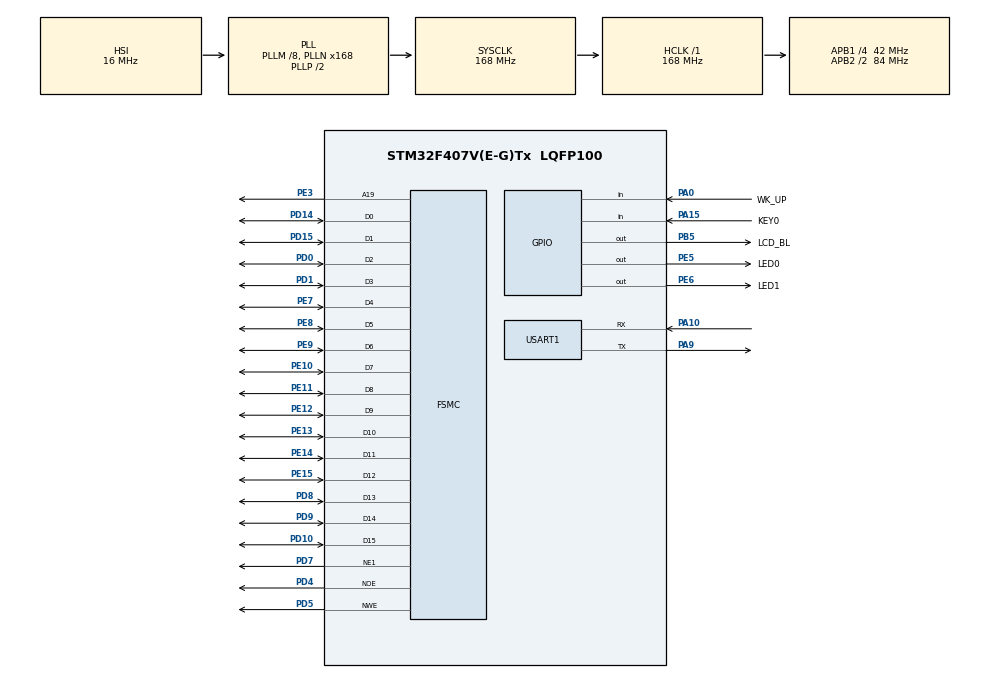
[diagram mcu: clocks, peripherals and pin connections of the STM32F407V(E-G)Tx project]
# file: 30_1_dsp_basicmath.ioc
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FSMC.AddressSetupTime1=15
FSMC.BusTurnAroundDuration1=0
FSMC.DataSetupTime1=60
FSMC.ExtendedAddressSetupTime1=9
FSMC.ExtendedDataSetupTime1=9
FSMC.ExtendedMode1=FSMC_EXTENDED_MODE_ENABLE
Mcu.Family=STM32F4
Mcu.Name=STM32F407V(E-G)Tx
Mcu.Package=LQFP100
NVIC.PriorityGroup=NVIC_PRIORITYGROUP_2
NVIC.TIM6_DAC_IRQn=true\:2\:1\:true\:false\:true\:true\:true\:true
NVIC.USART1_IRQn=true\:2\:2\:true\:false\:true\:true\:true\:true
PA0-WKUP.GPIO_Label=WK_UP
PA0-WKUP.GPIO_PuPd=GPIO_PULLDOWN
PA0-WKUP.Signal=GPIO_Input
PA10.Mode=Asynchronous
PA10.Signal=USART1_RX
PA13.Mode=Serial_Wire
PA13.Signal=SYS_JTMS-SWDIO
PA14.Mode=Serial_Wire
PA14.Signal=SYS_JTCK-SWCLK
PA15.GPIO_Label=KEY0
PA15.GPIO_PuPd=GPIO_PULLDOWN
PA15.Signal=GPIO_Input
PA9.Mode=Asynchronous
PA9.Signal=USART1_TX
PB5.GPIO_Label=LCD_BL
PB5.GPIO_PuPd=GPIO_PULLUP
PB5.GPIO_Speed=GPIO_SPEED_FREQ_HIGH
PB5.PinState=GPIO_PIN_SET
PB5.Signal=GPIO_Output
PC14-OSC32_IN.Mode=LSE-External-Oscillator
PC14-OSC32_IN.Signal=RCC_OSC32_IN
PC15-OSC32_OUT.Mode=LSE-External-Oscillator
PC15-OSC32_OUT.Signal=RCC_OSC32_OUT
PD0.Mode=16b-d1
PD0.Signal=FSMC_D2
PD1.Mode=16b-d1
PD1.Signal=FSMC_D3
PD10.Mode=16b-d1
PD10.Signal=FSMC_D15
PD14.Mode=16b-d1
PD14.Signal=FSMC_D0
PD15.Mode=16b-d1
PD15.Signal=FSMC_D1
PD4.Mode=Lcd1
PD4.Signal=FSMC_NOE
PD5.Mode=Lcd1
PD5.Signal=FSMC_NWE
PD7.Mode=NorPsramChipSelect1_1
PD7.Signal=FSMC_NE1
PD8.Mode=16b-d1
PD8.Signal=FSMC_D13
PD9.Mode=16b-d1
PD9.Signal=FSMC_D14
PE10.Mode=16b-d1
PE10.Signal=FSMC_D7
PE11.Mode=16b-d1
PE11.Signal=FSMC_D8
PE12.Mode=16b-d1
PE12.Signal=FSMC_D9
PE13.Mode=16b-d1
PE13.Signal=FSMC_D10
PE14.Mode=16b-d1
PE14.Signal=FSMC_D11
PE15.Mode=16b-d1
PE15.Signal=FSMC_D12
PE3.Mode=A19_1
PE3.Signal=FSMC_A19
PE5.GPIO_Label=LED0
PE5.GPIO_PuPd=GPIO_PULLUP
PE5.GPIO_Speed=GPIO_SPEED_FREQ_HIGH
PE5.PinState=GPIO_PIN_SET
PE5.Signal=GPIO_Output
PE6.GPIO_Label=LED1
PE6.GPIO_PuPd=GPIO_PULLUP
PE6.GPIO_Speed=GPIO_SPEED_FREQ_HIGH
PE6.PinState=GPIO_PIN_SET
PE6.Signal=GPIO_Output
PE7.Mode=16b-d1
PE7.Signal=FSMC_D4
PE8.Mode=16b-d1
PE8.Signal=FSMC_D5
PE9.Mode=16b-d1
PE9.Signal=FSMC_D6
PH0-OSC_IN.Mode=HSE-External-Oscillator
PH0-OSC_IN.Signal=RCC_OSC_IN
PH1-OSC_OUT.Mode=HSE-External-Oscillator
PH1-OSC_OUT.Signal=RCC_OSC_OUT
ProjectManager.HeapSize=0x200
ProjectManager.StackSize=0x400
ProjectManager.TargetToolchain=STM32CubeIDE
RCC.48MHZClocksFreq_Value=84000000
RCC.AHBFreq_Value=168000000
RCC.APB1CLKDivider=RCC_HCLK_DIV4
RCC.APB1Freq_Value=42000000
RCC.APB1TimFreq_Value=84000000
RCC.APB2CLKDivider=RCC_HCLK_DIV2
RCC.APB2Freq_Value=84000000
RCC.APB2TimFreq_Value=168000000
RCC.CortexFreq_Value=168000000
RCC.HCLKFreq_Value=168000000
RCC.HSE_VALUE=25000000
RCC.HSI_VALUE=16000000
RCC.PLLM=8
RCC.PLLN=168
RCC.SYSCLKFreq_VALUE=168000000
RCC.SYSCLKSource=RCC_SYSCLKSOURCE_PLLCLK
RCC.VCOOutputFreq_Value=336000000
TIM6.AutoReloadPreload=TIM_AUTORELOAD_PRELOAD_ENABLE
TIM6.Prescaler=8400-1
USART1.VirtualMode=VM_ASYNC
VP_TIM6_VS_ClockSourceINT.Mode=Enable_Timer
board=custom

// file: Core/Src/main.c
/**
 ****************************************************************************************************
 * @file        main.c
 * @author      ALIENTEK
 * @brief       dsp_basicmath code
 * @license     Copyright (C) 2012-2024, ALIENTEK
 ****************************************************************************************************
 * @attention
 *
 * platform     : ALIENTEK M100-STM32F407 board
 * website      : www.alientek.com
 * forum        : www.openedv.com/forum.php
 *
 * change logs  :
 * version      data         notes
 * V1.0         20240409     the first version
 *
 ****************************************************************************************************
 */

/* USER CODE BEGIN Header */

/* USER CODE END Header */
#include "main.h"
#include "tim.h"
#include "usart.h"
#include "gpio.h"
#include "fsmc.h"

/* USER CODE BEGIN Includes */
#include "../../BSP/LED/led.h"
#include "../../BSP/KEY/key.h"
#include "../../BSP/LCD/lcd.h"
#include "arm_math.h"
/* USER CODE END Includes */

/* USER CODE BEGIN PTD */
#define DELTA   0.0001f                 /* error value */
uint8_t g_timeout;

extern float32_t arm_cos_f32(float32_t x);
/* USER CODE END PTD */

/* USER CODE BEGIN PD */
/**
 * @brief   Displays information about the experiment
 * @param   None
 * @retval  None
 */
void stm32f407vg_show_mesg(void)
{
	/* The serial port outputs the experimental information */
	printf("\n");
	printf("********************************\r\n");
	printf("STM32F407\r\n");
	printf("DAP_BasicMath Test\r\n");
	printf("ATOM@ALIENTEK\r\n");
	printf("********************************\r\n");
	printf("\r\n");
}

/**
 * @brief sin cos test
 * @param angle : the starting Angle
 * @param times : The number of operations
 * @param mode  : Whether DSP libraries are used or not
 * @arg   0, does not use DSP libraries;
 * @arg   1, using the DSP library;
 *
 * @retval none
 */
uint8_t sin_cos_test(float angle, uint32_t times, uint8_t mode)
{
    float sinx, cosx;
    float result;
    uint32_t i = 0;

    if (mode == 0)
    {
        for (i = 0; i < times; i++)
        {
            cosx = cosf(angle);                 /* Dsp-optimized sin, cos functions are not used */
            sinx = sinf(angle);
            result = sinx * sinx + cosx * cosx; /* It should be equal to 1 */
            result = fabsf(result - 1.0f);      /* Compare the difference with 1 */

            if (result > DELTA)return 0XFF;     /* Failure to judge */

            angle += 0.001f;    /* Angle self-increasing */
        }
    }
    else
    {
        for (i = 0; i < times; i++)
        {
            cosx = arm_cos_f32(angle);          /* Using DSP optimized sin, cos functions */
            sinx = arm_sin_f32(angle);
            result = sinx * sinx + cosx * cosx; /* It should be equal to 1 */
            result = fabsf(result - 1.0f);      /* Compare the difference with 1 */

            if (result > DELTA)return 0XFF;     /* Failure to judge */

            angle += 0.001f;    /* Angle self-increasing */
        }
    }

    return 0;   /* completion of task */
}
/* USER CODE END PD */

void SystemClock_Config(void);

int main(void)
{
  /* USER CODE BEGIN 1 */
  float time;
  char buf[50];
  uint8_t res;
  /* USER CODE END 1 */

  /* MCU Configuration--------------------------------------------------------*/

  /* Reset of all peripherals, Initializes the Flash interface and the Systick. */
  HAL_Init();

  /* Configure the system clock */
  SystemClock_Config();

  /* Initialize all configured peripherals */
  MX_GPIO_Init();
  MX_USART1_UART_Init();
  MX_FSMC_Init();
  MX_TIM6_Init();
  /* USER CODE BEGIN 2 */
  lcd_init();                                         /* Initialize LCD */
  stm32f407vg_show_mesg();
  lcd_show_string(30,  50, 200, 16, 16, "STM32", RED);
  lcd_show_string(30,  70, 200, 16, 16, "DSP BasicMath TEST", RED);
  lcd_show_string(30,  90, 200, 16, 16, "ATOM@ALIENTEK", RED);
  lcd_show_string(30, 110, 200, 16, 16, " No DSP runtime:", RED);

  lcd_show_string(30, 150, 200, 16, 16, "Use DSP runtime:", RED);
  /* USER CODE END 2 */

  /* Infinite loop */
  /* USER CODE BEGIN WHILE */
  while (1)
  {
	  /* No DSP optimization is used */
	  __HAL_TIM_SET_COUNTER(&htim6,0);/* Resets the counter value of the TIM6 timer */
	  g_timeout = 0;
	  res = sin_cos_test(PI / 6, 10000, 0);
	  time = __HAL_TIM_GET_COUNTER(&htim6) + (uint32_t)g_timeout * 65536;
	  sprintf(buf, "%0.1fms\r\n", time / 10);

	  if (res == 0)
	  {
	  	 lcd_show_string(30 + 16 * 8, 110, 100, 16, 16, buf, BLUE);      /* Displaying the running time */
	  }
	  else
	  {
	  	 lcd_show_string(30 + 16 * 8, 110, 100, 16, 16, "error", BLUE); /* Displays the current running status */
	  }

	  /* Using DSP optimization */
	  __HAL_TIM_SET_COUNTER(&htim6,0); /* Resets the counter value of the TIM6 timer */
	  g_timeout = 0;
	  res = sin_cos_test(PI / 6, 10000, 1);
	  time = __HAL_TIM_GET_COUNTER(&htim6) + (uint32_t)g_timeout * 65536;
	  sprintf(buf, "%0.1fms\r\n", time / 10);

	  if (res == 0)
	  {
	  	  lcd_show_string(30 + 16 * 8, 150, 100, 16, 16, buf, BLUE);      /* Displaying the running time */
	  }
	  else
	  {
	  	  lcd_show_string(30 + 16 * 8, 150, 100, 16, 16, "error", BLUE); /* display errors */
	  }

	  LED0_TOGGLE();             /* flashing LED0 indicates that the system is running */
    /* USER CODE END WHILE */

  }
}

void SystemClock_Config(void)
{
  RCC_OscInitTypeDef RCC_OscInitStruct = {0};
  RCC_ClkInitTypeDef RCC_ClkInitStruct = {0};

  /** Configure the main internal regulator output voltage
  */
  __HAL_RCC_PWR_CLK_ENABLE();
  __HAL_PWR_VOLTAGESCALING_CONFIG(PWR_REGULATOR_VOLTAGE_SCALE1);

  /** Initializes the RCC Oscillators according to the specified parameters
  * in the RCC_OscInitTypeDef structure.
  */
  RCC_OscInitStruct.OscillatorType = RCC_OSCILLATORTYPE_HSI;
  RCC_OscInitStruct.HSIState = RCC_HSI_ON;
  RCC_OscInitStruct.HSICalibrationValue = RCC_HSICALIBRATION_DEFAULT;
  RCC_OscInitStruct.PLL.PLLState = RCC_PLL_ON;
  RCC_OscInitStruct.PLL.PLLSource = RCC_PLLSOURCE_HSI;
  RCC_OscInitStruct.PLL.PLLM = 8;
  RCC_OscInitStruct.PLL.PLLN = 168;
  RCC_OscInitStruct.PLL.PLLP = RCC_PLLP_DIV2;
  RCC_OscInitStruct.PLL.PLLQ = 4;
  if (HAL_RCC_OscConfig(&RCC_OscInitStruct) != HAL_OK)
  {
    Error_Handler();
  }

  /** Initializes the CPU, AHB and APB buses clocks
  */
  RCC_ClkInitStruct.ClockType = RCC_CLOCKTYPE_HCLK|RCC_CLOCKTYPE_SYSCLK
                              |RCC_CLOCKTYPE_PCLK1|RCC_CLOCKTYPE_PCLK2;
  RCC_ClkInitStruct.SYSCLKSource = RCC_SYSCLKSOURCE_PLLCLK;
  RCC_ClkInitStruct.AHBCLKDivider = RCC_SYSCLK_DIV1;
  RCC_ClkInitStruct.APB1CLKDivider = RCC_HCLK_DIV4;
  RCC_ClkInitStruct.APB2CLKDivider = RCC_HCLK_DIV2;

  if (HAL_RCC_ClockConfig(&RCC_ClkInitStruct, FLASH_LATENCY_5) != HAL_OK)
  {
    Error_Handler();
  }
}

void Error_Handler(void)
{
  __disable_irq();
  while (1)
  {
  }
}
